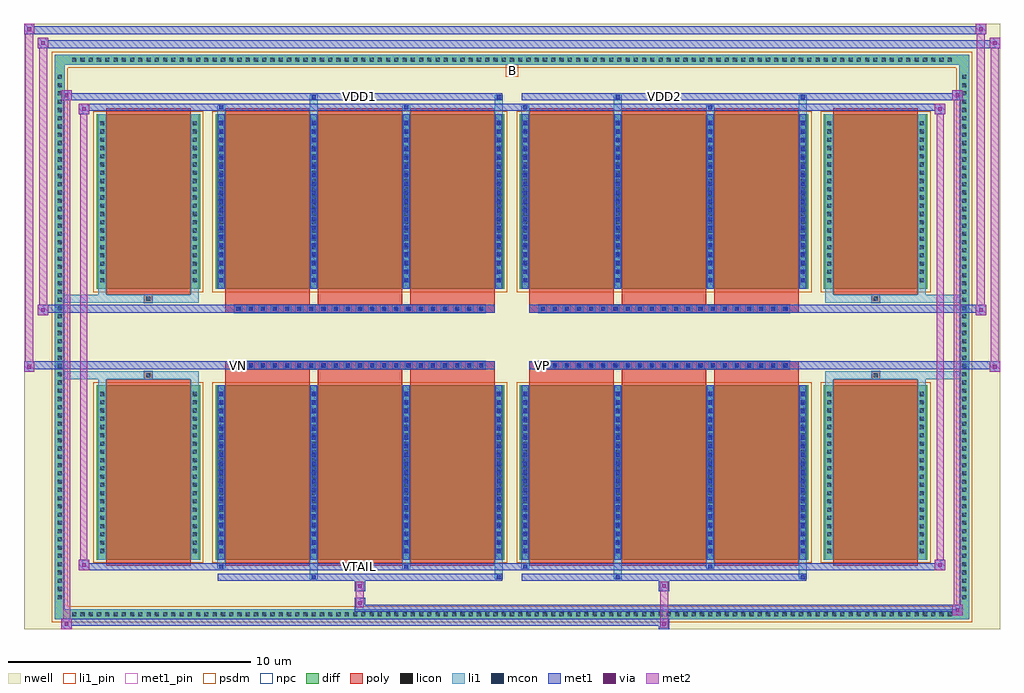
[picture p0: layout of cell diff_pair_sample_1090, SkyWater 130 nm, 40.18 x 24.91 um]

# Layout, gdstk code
import gdstk
lib = gdstk.Library(unit=1e-6, precision=5e-09)
def R(c, l, rs):  # rectangles x0, y0, x1, y1
    for r in rs: c.add(gdstk.rectangle(r[:2], r[2:], *l))
def A(c, l, x, y, w, h, nx, ny, dx, dy):  # array of equal rectangles
    R(c, l, [(x+i*dx, y+j*dy, x+i*dx+w, y+j*dy+h) for i in range(nx) for j in range(ny)])
def P(c, l, *ps):  # polygons
    for p in ps: c.add(gdstk.Polygon(p, *l))
nwell = (64, 20)
diff = (65, 20)
poly = (66, 20)
licon = (66, 44)
li1_pin = (67, 16)
li1 = (67, 20)
mcon = (67, 44)
met1_pin = (68, 16)
met1 = (68, 20)
via = (68, 44)
met2 = (69, 20)
psdm = (94, 20)
npc = (95, 20)

diff_pair_sample_1090 = lib.new_cell('diff_pair_sample_1090')
R(diff_pair_sample_1090, nwell, [(-20.09,-12.02,20.09,12.89), (-17.41,-10.21,-0.01,-0.805), (0.01,-10.21,17.41,-0.805), (-17.41,0.805,-0.01,10.21), (0.01,0.805,17.41,10.21)])
A(diff_pair_sample_1090, diff, -18.225, -11.62, 0.41, 0.41, 107, 2, 0.34, 22.83)
A(diff_pair_sample_1090, diff, -18.82, -10.915, 0.41, 0.41, 1, 64, 0, 0.34)
A(diff_pair_sample_1090, diff, 18.41, -10.915, 0.41, 0.41, 1, 64, 0, 0.34)
R(diff_pair_sample_1090, diff, [(-18.225,-11.62,18.225,-11.21), (-18.82,-10.915,-18.41,10.915), (18.41,-10.915,18.82,10.915), (-17.1,-9.165,-12.84,-1.985), (-12.2,-9.165,-0.32,-1.985), (0.32,-9.165,12.2,-1.985), (12.84,-9.165,17.1,-1.985), (-17.1,1.985,-12.84,9.165), (-12.2,1.985,-0.32,9.165), (0.32,1.985,12.2,9.165), (12.84,1.985,17.1,9.165), (-18.225,11.21,18.225,11.62)])
P(diff_pair_sample_1090, diff, [(18.82,11.62),(-18.82,11.62),(-18.82,-11.21),(-18.41,-11.21),(-18.41,11.21),(18.41,11.21),(18.41,-11.21),(-18.41,-11.21),(-18.82,-11.21),(-18.82,-11.62),(18.82,-11.62)])
A(diff_pair_sample_1090, poly, -11.81, -9.415, 3.48, 7.68, 3, 2, 3.81, 11.15)
A(diff_pair_sample_1090, poly, 0.71, -9.415, 3.48, 7.68, 3, 2, 3.81, 11.15)
A(diff_pair_sample_1090, poly, -11.81, -1.735, 3.48, 0.4, 3, 2, 3.81, 3.07)
A(diff_pair_sample_1090, poly, 0.71, -1.735, 3.48, 0.4, 3, 2, 3.81, 3.07)
A(diff_pair_sample_1090, poly, -11.425, -1.335, 0.33, 0.33, 21, 2, 0.5, 2.34)
A(diff_pair_sample_1090, poly, 1.095, -1.335, 0.33, 0.33, 21, 2, 0.5, 2.34)
R(diff_pair_sample_1090, poly, [(-16.71,-9.415,-13.23,-1.735), (13.23,-9.415,16.71,-1.735), (-15.135,-1.735,-14.805,-1.405), (-15.135,-1.735,-14.805,-1.405), (14.805,-1.735,15.135,-1.405), (14.805,-1.735,15.135,-1.405), (-11.81,-1.335,-0.71,-1.005), (0.71,-1.335,11.81,-1.005), (-11.81,1.005,-0.71,1.335), (0.71,1.005,11.81,1.335), (-15.135,1.405,-14.805,1.735), (-15.135,1.405,-14.805,1.735), (14.805,1.405,15.135,1.735), (14.805,1.405,15.135,1.735), (-16.71,1.735,-13.23,9.415), (13.23,1.735,16.71,9.415)])
A(diff_pair_sample_1090, licon, -18.105, -11.5, 0.17, 0.17, 107, 2, 0.34, 22.83)
A(diff_pair_sample_1090, licon, -18.7, -10.795, 0.17, 0.17, 1, 64, 0, 0.34)
A(diff_pair_sample_1090, licon, 18.53, -10.795, 0.17, 0.17, 1, 64, 0, 0.34)
A(diff_pair_sample_1090, licon, -16.96, -8.89, 0.17, 0.17, 1, 20, 0, 0.34)
A(diff_pair_sample_1090, licon, -13.15, -8.89, 0.17, 0.17, 1, 20, 0, 0.34)
A(diff_pair_sample_1090, licon, -12.06, -8.89, 0.17, 0.17, 4, 20, 3.81, 0.34)
A(diff_pair_sample_1090, licon, 0.46, -8.89, 0.17, 0.17, 4, 20, 3.81, 0.34)
A(diff_pair_sample_1090, licon, 12.98, -8.89, 0.17, 0.17, 1, 20, 0, 0.34)
A(diff_pair_sample_1090, licon, 16.79, -8.89, 0.17, 0.17, 1, 20, 0, 0.34)
A(diff_pair_sample_1090, licon, -11.345, -1.255, 0.17, 0.17, 21, 2, 0.5, 2.34)
A(diff_pair_sample_1090, licon, 1.175, -1.255, 0.17, 0.17, 21, 2, 0.5, 2.34)
A(diff_pair_sample_1090, licon, -16.96, 2.26, 0.17, 0.17, 1, 20, 0, 0.34)
A(diff_pair_sample_1090, licon, -13.15, 2.26, 0.17, 0.17, 1, 20, 0, 0.34)
A(diff_pair_sample_1090, licon, -12.06, 2.26, 0.17, 0.17, 4, 20, 3.81, 0.34)
A(diff_pair_sample_1090, licon, 0.46, 2.26, 0.17, 0.17, 4, 20, 3.81, 0.34)
A(diff_pair_sample_1090, licon, 12.98, 2.26, 0.17, 0.17, 1, 20, 0, 0.34)
A(diff_pair_sample_1090, licon, 16.79, 2.26, 0.17, 0.17, 1, 20, 0, 0.34)
R(diff_pair_sample_1090, licon, [(-15.055,-1.655,-14.885,-1.485), (14.885,-1.655,15.055,-1.485), (-15.055,1.485,-14.885,1.655), (14.885,1.485,15.055,1.655)])
R(diff_pair_sample_1090, li1_pin, [(-0.25,10.71,0.25,11.21)])
A(diff_pair_sample_1090, li1, -18.185, -11.58, 0.33, 0.33, 107, 2, 0.34, 22.83)
A(diff_pair_sample_1090, li1, -18.78, -10.875, 0.33, 0.33, 1, 64, 0, 0.34)
A(diff_pair_sample_1090, li1, 18.45, -10.875, 0.33, 0.33, 1, 64, 0, 0.34)
A(diff_pair_sample_1090, li1, -12.14, -9.165, 0.33, 7.18, 4, 2, 3.81, 11.15)
A(diff_pair_sample_1090, li1, 0.38, -9.165, 0.33, 7.18, 4, 2, 3.81, 11.15)
A(diff_pair_sample_1090, li1, -17.04, -8.97, 0.33, 0.33, 1, 20, 0, 0.34)
A(diff_pair_sample_1090, li1, -13.23, -8.97, 0.33, 0.33, 1, 20, 0, 0.34)
A(diff_pair_sample_1090, li1, -12.14, -8.97, 0.33, 0.33, 4, 20, 3.81, 0.34)
A(diff_pair_sample_1090, li1, 0.38, -8.97, 0.33, 0.33, 4, 20, 3.81, 0.34)
A(diff_pair_sample_1090, li1, 12.9, -8.97, 0.33, 0.33, 1, 20, 0, 0.34)
A(diff_pair_sample_1090, li1, 16.71, -8.97, 0.33, 0.33, 1, 20, 0, 0.34)
A(diff_pair_sample_1090, li1, -12.06, -8.9, 0.17, 0.17, 4, 19, 3.81, 0.36)
A(diff_pair_sample_1090, li1, -12.06, -8.9, 0.17, 6.65, 4, 2, 3.81, 11.15)
A(diff_pair_sample_1090, li1, 0.46, -8.9, 0.17, 0.17, 4, 19, 3.81, 0.36)
A(diff_pair_sample_1090, li1, 0.46, -8.9, 0.17, 6.65, 4, 2, 3.81, 11.15)
A(diff_pair_sample_1090, li1, -11.425, -1.335, 0.33, 0.33, 21, 2, 0.5, 2.34)
A(diff_pair_sample_1090, li1, 1.095, -1.335, 0.33, 0.33, 21, 2, 0.5, 2.34)
A(diff_pair_sample_1090, li1, -17.04, 2.18, 0.33, 0.33, 1, 20, 0, 0.34)
A(diff_pair_sample_1090, li1, -13.23, 2.18, 0.33, 0.33, 1, 20, 0, 0.34)
A(diff_pair_sample_1090, li1, -12.14, 2.18, 0.33, 0.33, 4, 20, 3.81, 0.34)
A(diff_pair_sample_1090, li1, 0.38, 2.18, 0.33, 0.33, 4, 20, 3.81, 0.34)
A(diff_pair_sample_1090, li1, 12.9, 2.18, 0.33, 0.33, 1, 20, 0, 0.34)
A(diff_pair_sample_1090, li1, 16.71, 2.18, 0.33, 0.33, 1, 20, 0, 0.34)
A(diff_pair_sample_1090, li1, -12.06, 2.25, 0.17, 0.17, 4, 19, 3.81, 0.36)
A(diff_pair_sample_1090, li1, 0.46, 2.25, 0.17, 0.17, 4, 19, 3.81, 0.36)
R(diff_pair_sample_1090, li1, [(-18.82,-11.62,-18.41,-11.21), (-18.82,-11.62,-18.41,-11.21), (-18.41,-11.62,18.41,-11.21), (18.41,-11.62,18.82,-11.21), (18.41,-11.62,18.82,-11.21), (-18.82,-11.21,-18.41,11.21), (18.41,-11.21,18.82,11.21), (-8.33,-9.97,-8,-9.165), (-8.25,-9.97,-8.08,-9.8), (-0.71,-9.97,-0.38,-9.165), (-0.63,-9.97,-0.46,-9.8), (4.19,-9.97,4.52,-9.165), (4.27,-9.97,4.44,-9.8), (11.81,-9.97,12.14,-9.165), (11.89,-9.97,12.06,-9.8), (-12.14,-9.54,-11.81,-9.165), (-12.06,-9.54,-11.89,-9.37), (-4.52,-9.54,-4.19,-9.165), (-4.44,-9.54,-4.27,-9.37), (0.38,-9.54,0.71,-9.165), (0.46,-9.54,0.63,-9.37), (8,-9.54,8.33,-9.165), (8.08,-9.54,8.25,-9.37), (-17.04,-9.165,-16.71,-1.985), (-13.23,-9.165,-12.9,-1.985), (12.9,-9.165,13.23,-1.985), (16.71,-9.165,17.04,-1.985), (-17.04,-1.985,-16.71,-1.405), (-13.23,-1.985,-12.9,-1.405), (12.9,-1.985,13.23,-1.405), (16.71,-1.985,17.04,-1.405), (-18.82,-1.735,-15.135,-1.405), (-17.04,-1.735,-15.135,-1.405), (-15.135,-1.735,-14.805,-1.405), (-14.805,-1.735,-12.9,-1.405), (12.9,-1.735,14.805,-1.405), (14.805,-1.735,15.135,-1.405), (14.805,-1.735,18.82,-1.405), (15.135,-1.735,17.04,-1.405), (-18.82,1.405,-15.135,1.735), (-17.04,1.405,-15.135,1.735), (-17.04,1.405,-16.71,1.985), (-15.135,1.405,-14.805,1.735), (-14.805,1.405,-12.9,1.735), (-13.23,1.405,-12.9,1.985), (12.9,1.405,14.805,1.735), (12.9,1.405,13.23,1.985), (14.805,1.405,15.135,1.735), (14.805,1.405,18.82,1.735), (15.135,1.405,17.04,1.735), (16.71,1.405,17.04,1.985), (-17.04,1.985,-16.71,9.165), (-13.23,1.985,-12.9,9.165), (12.9,1.985,13.23,9.165), (16.71,1.985,17.04,9.165), (-12.14,9.165,-11.81,9.54), (-8.33,9.165,-8,9.97), (-4.52,9.165,-4.19,9.54), (-0.71,9.165,-0.38,9.97), (0.38,9.165,0.71,9.54), (4.19,9.165,4.52,9.97), (8,9.165,8.33,9.54), (11.81,9.165,12.14,9.97), (-12.06,9.37,-11.89,9.54), (-4.44,9.37,-4.27,9.54), (0.46,9.37,0.63,9.54), (8.08,9.37,8.25,9.54), (-8.25,9.8,-8.08,9.97), (-0.63,9.8,-0.46,9.97), (4.27,9.8,4.44,9.97), (11.89,9.8,12.06,9.97), (-18.82,11.21,-18.41,11.62), (-18.82,11.21,-18.41,11.62), (-18.41,11.21,18.41,11.62), (18.41,11.21,18.82,11.62), (18.41,11.21,18.82,11.62)])
A(diff_pair_sample_1090, mcon, -12.06, -8.9, 0.17, 0.17, 4, 19, 3.81, 0.36)
A(diff_pair_sample_1090, mcon, 0.46, -8.9, 0.17, 0.17, 4, 19, 3.81, 0.36)
A(diff_pair_sample_1090, mcon, -11.345, -1.255, 0.17, 0.17, 21, 2, 0.5, 2.34)
A(diff_pair_sample_1090, mcon, 1.175, -1.255, 0.17, 0.17, 21, 2, 0.5, 2.34)
A(diff_pair_sample_1090, mcon, -12.06, 2.25, 0.17, 0.17, 4, 19, 3.81, 0.36)
A(diff_pair_sample_1090, mcon, 0.46, 2.25, 0.17, 0.17, 4, 19, 3.81, 0.36)
R(diff_pair_sample_1090, mcon, [(-8.25,-9.97,-8.08,-9.8), (-0.63,-9.97,-0.46,-9.8), (4.27,-9.97,4.44,-9.8), (11.89,-9.97,12.06,-9.8), (-12.06,-9.54,-11.89,-9.37), (-4.44,-9.54,-4.27,-9.37), (0.46,-9.54,0.63,-9.37), (8.08,-9.54,8.25,-9.37), (-12.06,9.37,-11.89,9.54), (-4.44,9.37,-4.27,9.54), (0.46,9.37,0.63,9.54), (8.08,9.37,8.25,9.54), (-8.25,9.8,-8.08,9.97), (-0.63,9.8,-0.46,9.97), (4.27,9.8,4.44,9.97), (11.89,9.8,12.06,9.97)])
R(diff_pair_sample_1090, met1_pin, [(-6.395,-9.58,-6.125,-9.31), (-11.395,-1.295,-11.125,-1.025), (1.125,-1.295,1.395,-1.025), (-6.395,9.76,-6.125,10.03), (6.125,9.76,6.395,10.03)])
A(diff_pair_sample_1090, met1, -12.12, -9.165, 0.29, 7.18, 4, 2, 3.81, 11.15)
A(diff_pair_sample_1090, met1, 0.4, -9.165, 0.29, 7.18, 4, 2, 3.81, 11.15)
A(diff_pair_sample_1090, met1, -12.12, -8.96, 0.29, 0.29, 4, 19, 3.81, 0.36)
A(diff_pair_sample_1090, met1, 0.4, -8.96, 0.29, 0.29, 4, 19, 3.81, 0.36)
A(diff_pair_sample_1090, met1, -11.405, -1.315, 0.29, 0.29, 21, 2, 0.5, 2.34)
A(diff_pair_sample_1090, met1, 1.115, -1.315, 0.29, 0.29, 21, 2, 0.5, 2.34)
A(diff_pair_sample_1090, met1, -12.12, 2.19, 0.29, 0.29, 4, 19, 3.81, 0.36)
A(diff_pair_sample_1090, met1, 0.4, 2.19, 0.29, 0.29, 4, 19, 3.81, 0.36)
R(diff_pair_sample_1090, met1, [(-18.55,-12.02,-18.12,-11.59), (6.045,-12.02,6.475,-11.59), (-18.55,-11.88,6.475,-11.59), (18.12,-11.45,18.55,-11.02), (-6.475,-11.31,18.55,-11.02), (-6.475,-11.17,-6.045,-10.74), (-6.475,-10.46,-6.045,-10.03), (6.045,-10.46,6.475,-10.03), (-12.12,-10.03,-0.4,-9.74), (-8.31,-10.03,-8.02,-9.74), (-0.69,-10.03,-0.4,-9.74), (0.4,-10.03,12.12,-9.74), (4.21,-10.03,4.5,-9.74), (11.83,-10.03,12.12,-9.74), (-17.84,-9.6,-17.41,-9.17), (-17.84,-9.6,-12.12,-9.31), (-12.12,-9.6,-11.83,-9.31), (-12.12,-9.6,-0.4,-9.31), (-4.5,-9.6,-4.21,-9.31), (-0.4,-9.6,0.4,-9.31), (0.4,-9.6,0.69,-9.31), (0.4,-9.6,12.12,-9.31), (8.02,-9.6,8.31,-9.31), (12.12,-9.6,17.84,-9.31), (17.41,-9.6,17.84,-9.17), (-20.09,-1.435,-19.66,-1.005), (19.66,-1.435,20.09,-1.005), (-20.09,-1.335,-0.71,-1.005), (-11.81,-1.335,-0.71,-1.005), (0.71,-1.335,11.81,-1.005), (0.71,-1.335,20.09,-1.005), (-19.52,0.905,-19.09,1.335), (19.09,0.905,19.52,1.335), (-19.52,1.005,-11.81,1.335), (-11.81,1.005,-0.71,1.335), (0.71,1.005,11.81,1.335), (11.81,1.005,19.52,1.335), (-17.84,9.17,-17.41,9.6), (17.41,9.17,17.84,9.6), (-17.84,9.31,-12.12,9.6), (-12.12,9.31,-11.83,9.6), (-12.12,9.31,-0.4,9.6), (-4.5,9.31,-4.21,9.6), (-0.4,9.31,0.4,9.6), (0.4,9.31,0.69,9.6), (0.4,9.31,12.12,9.6), (8.02,9.31,8.31,9.6), (12.12,9.31,17.84,9.6), (-18.55,9.74,-18.12,10.17), (-18.55,9.74,-12.12,10.03), (-12.12,9.74,-0.4,10.03), (-8.31,9.74,-8.02,10.03), (-0.69,9.74,-0.4,10.03), (0.4,9.74,12.12,10.03), (4.21,9.74,4.5,10.03), (11.83,9.74,12.12,10.03), (12.12,9.74,18.55,10.03), (18.12,9.74,18.55,10.17), (-19.52,11.89,-19.09,12.32), (-19.52,11.89,-17.41,12.22), (-17.41,11.89,17.41,12.22), (17.41,11.89,20.09,12.22), (19.66,11.89,20.09,12.32), (-20.09,12.46,-19.66,12.89), (-20.09,12.46,-17.41,12.79), (-17.41,12.46,17.41,12.79), (17.41,12.46,19.52,12.79), (19.09,12.46,19.52,12.89)])
R(diff_pair_sample_1090, via, [(-18.41,-11.88,-18.26,-11.73), (6.185,-11.88,6.335,-11.73), (18.26,-11.31,18.41,-11.16), (-6.335,-11.03,-6.185,-10.88), (-6.335,-10.32,-6.185,-10.17), (6.185,-10.32,6.335,-10.17), (-17.7,-9.46,-17.55,-9.31), (17.55,-9.46,17.7,-9.31), (-19.95,-1.295,-19.8,-1.145), (19.8,-1.295,19.95,-1.145), (-19.38,1.045,-19.23,1.195), (19.23,1.045,19.38,1.195), (-17.7,9.31,-17.55,9.46), (17.55,9.31,17.7,9.46), (-18.41,9.88,-18.26,10.03), (18.26,9.88,18.41,10.03), (-19.38,12.03,-19.23,12.18), (19.8,12.03,19.95,12.18), (-19.95,12.6,-19.8,12.75), (19.23,12.6,19.38,12.75)])
R(diff_pair_sample_1090, met2, [(-18.55,-12.02,-18.12,-11.59), (-18.48,-12.02,-18.19,10.17), (-18.19,-12.02,-18.12,-11.59), (-18.5,-11.97,-18.17,-11.64), (6.095,-11.97,6.425,-11.64), (6.095,-11.64,6.425,-10.41), (18.12,-11.45,18.55,-11.02), (18.19,-11.45,18.48,10.17), (18.48,-11.45,18.55,-11.02), (18.17,-11.4,18.5,-11.07), (-6.425,-11.12,-6.095,-10.79), (-6.425,-10.79,-6.095,-10.41), (-6.425,-10.41,-6.095,-10.08), (6.095,-10.41,6.425,-10.08), (-17.84,-9.6,-17.41,-9.17), (-17.77,-9.6,-17.48,9.6), (-17.48,-9.6,-17.41,-9.17), (17.41,-9.6,17.84,-9.17), (17.48,-9.6,17.77,9.6), (17.77,-9.6,17.84,-9.17), (-17.79,-9.55,-17.46,-9.22), (17.46,-9.55,17.79,-9.22), (-20.09,-1.435,-19.66,-1.005), (-20.04,-1.435,-19.71,12.89), (-19.71,-1.435,-19.66,-1.005), (19.66,-1.435,20.09,-1.005), (19.71,-1.435,20.04,12.32), (20.04,-1.435,20.09,-1.005), (-20.04,-1.385,-19.71,-1.055), (19.71,-1.385,20.04,-1.055), (-19.52,0.905,-19.09,1.335), (-19.47,0.905,-19.14,12.32), (-19.14,0.905,-19.09,1.335), (19.09,0.905,19.52,1.335), (19.14,0.905,19.47,12.89), (19.47,0.905,19.52,1.335), (-19.47,0.955,-19.14,1.285), (19.14,0.955,19.47,1.285), (-17.84,9.17,-17.41,9.6), (-17.48,9.17,-17.41,9.6), (17.41,9.17,17.84,9.6), (17.77,9.17,17.84,9.6), (-17.79,9.22,-17.46,9.55), (17.46,9.22,17.79,9.55), (-18.55,9.74,-18.12,10.17), (-18.19,9.74,-18.12,10.17), (18.12,9.74,18.55,10.17), (18.48,9.74,18.55,10.17), (-18.5,9.79,-18.17,10.12), (18.17,9.79,18.5,10.12), (-19.52,11.89,-19.09,12.32), (-19.14,11.89,-19.09,12.32), (19.66,11.89,20.09,12.32), (20.04,11.89,20.09,12.32), (-19.47,11.94,-19.14,12.27), (19.71,11.94,20.04,12.27), (-20.09,12.46,-19.66,12.89), (-19.71,12.46,-19.66,12.89), (19.09,12.46,19.52,12.89), (19.47,12.46,19.52,12.89), (-20.04,12.51,-19.71,12.84), (19.14,12.51,19.47,12.84)])
R(diff_pair_sample_1090, psdm, [(-17.23,-9.295,-12.71,-1.855), (-12.33,-9.295,-0.19,-1.855), (0.19,-9.295,12.33,-1.855), (12.71,-9.295,17.23,-1.855), (-17.23,1.855,-12.71,9.295), (-12.33,1.855,-0.19,9.295), (0.19,1.855,12.33,9.295), (12.71,1.855,17.23,9.295)])
P(diff_pair_sample_1090, psdm, [(18.95,11.75),(-18.95,11.75),(-18.95,-11.08),(-18.28,-11.08),(-18.28,11.08),(18.28,11.08),(18.28,-11.08),(-18.28,-11.08),(-18.95,-11.08),(-18.95,-11.75),(18.95,-11.75)])
A(diff_pair_sample_1090, npc, -11.445, -1.355, 0.37, 0.37, 21, 2, 0.5, 2.34)
A(diff_pair_sample_1090, npc, 1.075, -1.355, 0.37, 0.37, 21, 2, 0.5, 2.34)
R(diff_pair_sample_1090, npc, [(-15.155,-1.755,-14.785,-1.385), (14.785,-1.755,15.155,-1.385), (-11.445,-1.355,-10.575,-0.985), (-11.445,-1.355,-10.575,-0.985), (-10.945,-1.355,-10.075,-0.985), (-10.945,-1.355,-10.075,-0.985), (-10.445,-1.355,-9.575,-0.985), (-10.445,-1.355,-9.575,-0.985), (-9.945,-1.355,-9.075,-0.985), (-9.945,-1.355,-9.075,-0.985), (-9.445,-1.355,-8.575,-0.985), (-9.445,-1.355,-8.575,-0.985), (-8.945,-1.355,-8.075,-0.985), (-8.945,-1.355,-8.075,-0.985), (-8.445,-1.355,-7.575,-0.985), (-8.445,-1.355,-7.575,-0.985), (-7.945,-1.355,-7.075,-0.985), (-7.945,-1.355,-7.075,-0.985), (-7.445,-1.355,-6.575,-0.985), (-7.445,-1.355,-6.575,-0.985), (-6.945,-1.355,-6.075,-0.985), (-6.945,-1.355,-6.075,-0.985), (-6.445,-1.355,-5.575,-0.985), (-6.445,-1.355,-5.575,-0.985), (-5.945,-1.355,-5.075,-0.985), (-5.945,-1.355,-5.075,-0.985), (-5.445,-1.355,-4.575,-0.985), (-5.445,-1.355,-4.575,-0.985), (-4.945,-1.355,-4.075,-0.985), (-4.945,-1.355,-4.075,-0.985), (-4.445,-1.355,-3.575,-0.985), (-4.445,-1.355,-3.575,-0.985), (-3.945,-1.355,-3.075,-0.985), (-3.945,-1.355,-3.075,-0.985), (-3.445,-1.355,-2.575,-0.985), (-3.445,-1.355,-2.575,-0.985), (-2.945,-1.355,-2.075,-0.985), (-2.945,-1.355,-2.075,-0.985), (-2.445,-1.355,-1.575,-0.985), (-2.445,-1.355,-1.575,-0.985), (-1.945,-1.355,-1.075,-0.985), (-1.945,-1.355,-1.075,-0.985), (1.075,-1.355,1.945,-0.985), (1.075,-1.355,1.945,-0.985), (1.575,-1.355,2.445,-0.985), (1.575,-1.355,2.445,-0.985), (2.075,-1.355,2.945,-0.985), (2.075,-1.355,2.945,-0.985), (2.575,-1.355,3.445,-0.985), (2.575,-1.355,3.445,-0.985), (3.075,-1.355,3.945,-0.985), (3.075,-1.355,3.945,-0.985), (3.575,-1.355,4.445,-0.985), (3.575,-1.355,4.445,-0.985), (4.075,-1.355,4.945,-0.985), (4.075,-1.355,4.945,-0.985), (4.575,-1.355,5.445,-0.985), (4.575,-1.355,5.445,-0.985), (5.075,-1.355,5.945,-0.985), (5.075,-1.355,5.945,-0.985), (5.575,-1.355,6.445,-0.985), (5.575,-1.355,6.445,-0.985), (6.075,-1.355,6.945,-0.985), (6.075,-1.355,6.945,-0.985), (6.575,-1.355,7.445,-0.985), (6.575,-1.355,7.445,-0.985), (7.075,-1.355,7.945,-0.985), (7.075,-1.355,7.945,-0.985), (7.575,-1.355,8.445,-0.985), (7.575,-1.355,8.445,-0.985), (8.075,-1.355,8.945,-0.985), (8.075,-1.355,8.945,-0.985), (8.575,-1.355,9.445,-0.985), (8.575,-1.355,9.445,-0.985), (9.075,-1.355,9.945,-0.985), (9.075,-1.355,9.945,-0.985), (9.575,-1.355,10.445,-0.985), (9.575,-1.355,10.445,-0.985), (10.075,-1.355,10.945,-0.985), (10.075,-1.355,10.945,-0.985), (10.575,-1.355,11.445,-0.985), (10.575,-1.355,11.445,-0.985), (-11.445,0.985,-10.575,1.355), (-11.445,0.985,-10.575,1.355), (-10.945,0.985,-10.075,1.355), (-10.945,0.985,-10.075,1.355), (-10.445,0.985,-9.575,1.355), (-10.445,0.985,-9.575,1.355), (-9.945,0.985,-9.075,1.355), (-9.945,0.985,-9.075,1.355), (-9.445,0.985,-8.575,1.355), (-9.445,0.985,-8.575,1.355), (-8.945,0.985,-8.075,1.355), (-8.945,0.985,-8.075,1.355), (-8.445,0.985,-7.575,1.355), (-8.445,0.985,-7.575,1.355), (-7.945,0.985,-7.075,1.355), (-7.945,0.985,-7.075,1.355), (-7.445,0.985,-6.575,1.355), (-7.445,0.985,-6.575,1.355), (-6.945,0.985,-6.075,1.355), (-6.945,0.985,-6.075,1.355), (-6.445,0.985,-5.575,1.355), (-6.445,0.985,-5.575,1.355), (-5.945,0.985,-5.075,1.355), (-5.945,0.985,-5.075,1.355), (-5.445,0.985,-4.575,1.355), (-5.445,0.985,-4.575,1.355), (-4.945,0.985,-4.075,1.355), (-4.945,0.985,-4.075,1.355), (-4.445,0.985,-3.575,1.355), (-4.445,0.985,-3.575,1.355), (-3.945,0.985,-3.075,1.355), (-3.945,0.985,-3.075,1.355), (-3.445,0.985,-2.575,1.355), (-3.445,0.985,-2.575,1.355), (-2.945,0.985,-2.075,1.355), (-2.945,0.985,-2.075,1.355), (-2.445,0.985,-1.575,1.355), (-2.445,0.985,-1.575,1.355), (-1.945,0.985,-1.075,1.355), (-1.945,0.985,-1.075,1.355), (1.075,0.985,1.945,1.355), (1.075,0.985,1.945,1.355), (1.575,0.985,2.445,1.355), (1.575,0.985,2.445,1.355), (2.075,0.985,2.945,1.355), (2.075,0.985,2.945,1.355), (2.575,0.985,3.445,1.355), (2.575,0.985,3.445,1.355), (3.075,0.985,3.945,1.355), (3.075,0.985,3.945,1.355), (3.575,0.985,4.445,1.355), (3.575,0.985,4.445,1.355), (4.075,0.985,4.945,1.355), (4.075,0.985,4.945,1.355), (4.575,0.985,5.445,1.355), (4.575,0.985,5.445,1.355), (5.075,0.985,5.945,1.355), (5.075,0.985,5.945,1.355), (5.575,0.985,6.445,1.355), (5.575,0.985,6.445,1.355), (6.075,0.985,6.945,1.355), (6.075,0.985,6.945,1.355), (6.575,0.985,7.445,1.355), (6.575,0.985,7.445,1.355), (7.075,0.985,7.945,1.355), (7.075,0.985,7.945,1.355), (7.575,0.985,8.445,1.355), (7.575,0.985,8.445,1.355), (8.075,0.985,8.945,1.355), (8.075,0.985,8.945,1.355), (8.575,0.985,9.445,1.355), (8.575,0.985,9.445,1.355), (9.075,0.985,9.945,1.355), (9.075,0.985,9.945,1.355), (9.575,0.985,10.445,1.355), (9.575,0.985,10.445,1.355), (10.075,0.985,10.945,1.355), (10.075,0.985,10.945,1.355), (10.575,0.985,11.445,1.355), (10.575,0.985,11.445,1.355), (-15.155,1.385,-14.785,1.755), (14.785,1.385,15.155,1.755)])
diff_pair_sample_1090.add(gdstk.Label('VTAIL', (-6.26,-9.445), layer=68, texttype=5))
diff_pair_sample_1090.add(gdstk.Label('VN', (-11.26,-1.16), layer=68, texttype=5))
diff_pair_sample_1090.add(gdstk.Label('VP', (1.26,-1.16), layer=68, texttype=5))
diff_pair_sample_1090.add(gdstk.Label('B', (0,10.96), layer=67, texttype=5))
diff_pair_sample_1090.add(gdstk.Label('VDD2', (6.26,9.895), layer=68, texttype=5))
diff_pair_sample_1090.add(gdstk.Label('VDD1', (-6.26,9.895), layer=68, texttype=5))

lib.write_gds('diff_pair_sample_1090.gds')
